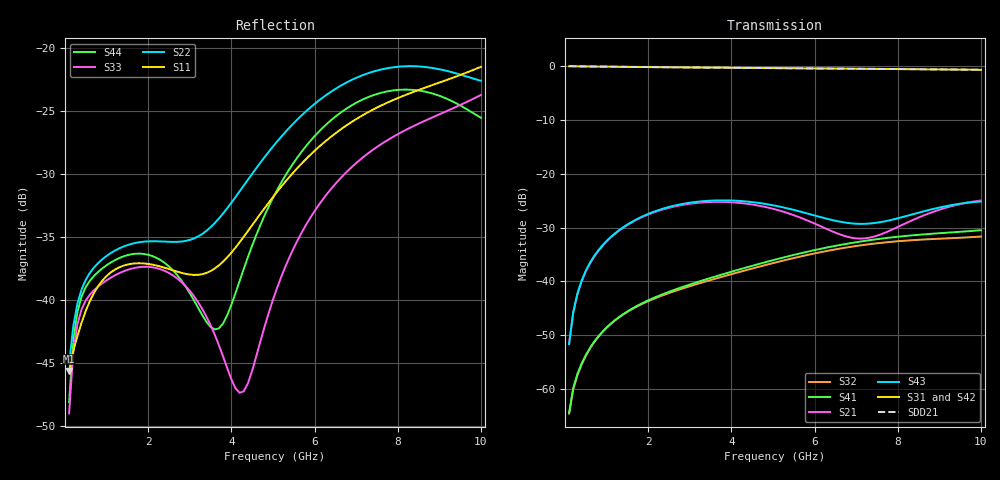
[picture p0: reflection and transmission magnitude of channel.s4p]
! Touchstone file from project
# GHZ S MA R 50.000000
! Terminal data exported
! Port[1] = a1
! Port[2] = a2
! Port[3] = a3
! Port[4] = a4
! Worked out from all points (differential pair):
!   100 points, 100 MHz to 10 GHz, reference 50 ohm
!   strongest paths, dB at 100 MHz, 2.6 GHz, 5.1 GHz, 7.6 GHz, 10 GHz:
!     S31: 0.0, -0.2, -0.4, -0.5, -0.7
!     S42: 0.0, -0.3, -0.4, -0.6, -0.8
!     S43: -51.6, -26.0, -26.0, -29.0, -25.2
!     S21: -51.6, -26.1, -26.7, -31.2, -25.0
!     S41: -64.5, -41.6, -35.9, -32.1, -30.5
!     S32: -64.5, -41.9, -36.4, -32.8, -31.7
!   taken as a pair (ports 1,2 in; 3,4 out), SDD21 dB: 0.0, -0.2, -0.4, -0.5, -0.7
!   lowest |S11| = -45.6 dB at 100 MHz (marker M1), VSWR 1.01, Z = 50.4 + j0.31 ohm
!   |S11| at or under -10 dB: start of sweep to end of sweep
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0.1  0.005237 35.9  0.002628 81.5  0.9966 -2.3  0.0005972 -113.2
     0.002628 81.5  0.005582 37.5  0.0005972 -113.2  0.9964 -2.5
     0.9966 -2.3  0.0005972 -113.2  0.003556 65.1  0.002634 82.2
     0.0005972 -113.2  0.9964 -2.5  0.002634 82.2  0.003939 64.9
0.5  0.009067 33.6  0.01233 73.4  0.9905 -11.2  0.00207 -117.1
     0.01233 73.4  0.01205 41.8  0.002035 -116.6  0.99 -11.8
     0.9905 -11.2  0.002035 -116.6  0.00997 49.9  0.01255 76.7
     0.00207 -117.1  0.99 -11.8  0.01255 76.7  0.01126 52.3
1.3  0.01349 17.3  0.0296 54.5  0.9834 -28.6  0.004675 -131.0
     0.0296 54.5  0.01603 16.8  0.004636 -131.3  0.9824 -30.0
     0.9834 -28.6  0.004636 -131.3  0.01278 37.2  0.02989 62.7
     0.004675 -131.0  0.9824 -30.0  0.02989 62.7  0.01468 42.3
3.6  0.01334 -81.2  0.05478 -4.5  0.9656 -78.4  0.01108 -178.5
     0.05478 -4.5  0.02021 -94.9  0.01058 -177.6  0.9635 -82.3
     0.9656 -78.4  0.01058 -177.6  0.007304 10.5  0.05644 23.6
     0.01108 -178.5  0.9635 -82.3  0.05644 23.6  0.007655 64.1
4.4  0.01881 -123.9  0.05247 -27.2  0.9603 -95.7  0.01362 164.7
     0.05247 -27.2  0.03007 -136.7  0.01287 166.5  0.9577 -100.4
     0.9603 -95.7  0.01287 166.5  0.004681 69.9  0.05509 12.6
     0.01362 164.7  0.9577 -100.4  0.05509 12.6  0.01484 109.0
7.3  0.05581 166.8  0.02541 -170.5  0.9415 -158.5  0.02409 93.9
     0.02541 -170.5  0.07964 142.8  0.02212 98.5  0.9358 -166.2
     0.9415 -158.5  0.02212 98.5  0.03836 48.0  0.03444 19.8
     0.02409 93.9  0.9358 -166.2  0.03444 19.8  0.064 64.5
10  0.08432 149.9  0.05642 71.2  0.9219 143.0  0.02991 28.6
    0.05642 71.2  0.07419 115.3  0.02613 37.2  0.9155 132.4
    0.9219 143.0  0.02613 37.2  0.06519 -53.6  0.05526 22.0
    0.02991 28.6  0.9155 132.4  0.05526 22.0  0.05294 -30.2
